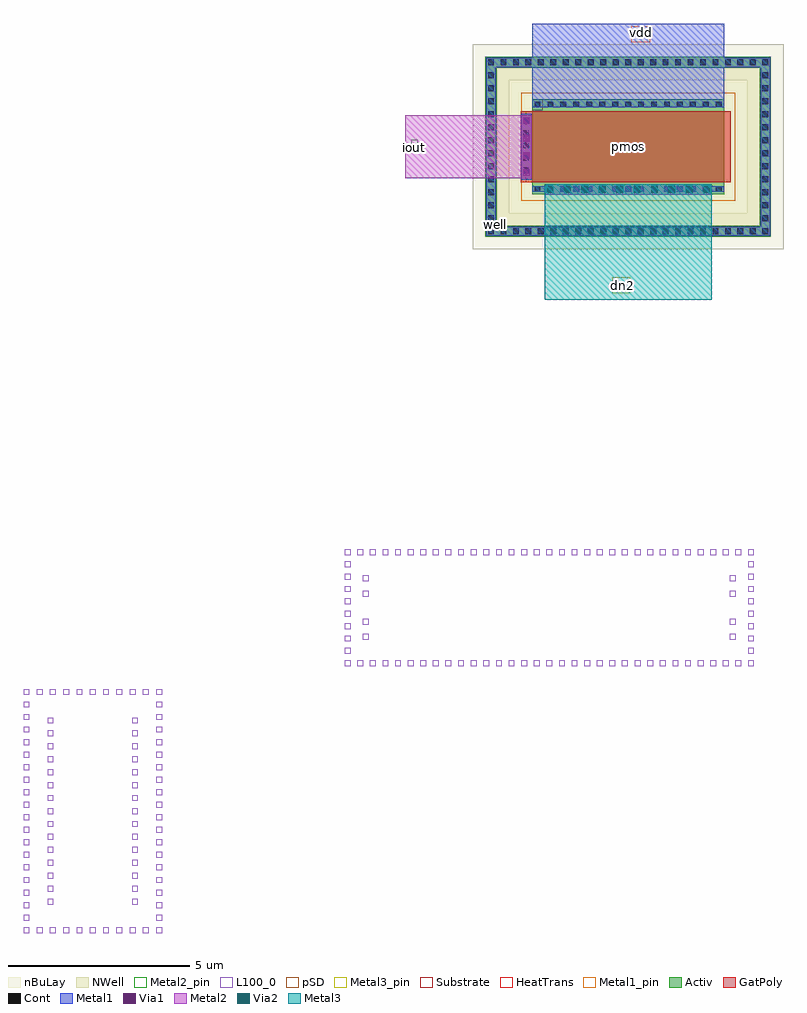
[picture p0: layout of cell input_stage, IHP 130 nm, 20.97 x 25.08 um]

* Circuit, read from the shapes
.subckt input_stage dn2 iout vdd
XM1 vdd iout dn2 vdd sg13_lv_pmos w=5.3u l=1.95u
.ends

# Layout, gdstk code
import gdstk
lib = gdstk.Library(unit=1e-6, precision=1e-09)
def R(c, l, rs):  # rectangles x0, y0, x1, y1
    for r in rs: c.add(gdstk.rectangle(r[:2], r[2:], *l))
def A(c, l, x, y, w, h, nx, ny, dx, dy):  # array of equal rectangles
    R(c, l, [(x+i*dx, y+j*dy, x+i*dx+w, y+j*dy+h) for i in range(nx) for j in range(ny)])
def P(c, l, *ps):  # polygons
    for p in ps: c.add(gdstk.Polygon(p, *l))
Activ = (1, 0)
GatPoly = (5, 0)
Cont = (6, 0)
Metal1 = (8, 0)
Metal1_pin = (8, 2)
Metal2 = (10, 0)
Metal2_pin = (10, 2)
pSD = (14, 0)
Via1 = (19, 0)
Via2 = (29, 0)
Metal3 = (30, 0)
Metal3_pin = (30, 2)
NWell = (31, 0)
nBuLay = (32, 0)
Substrate = (40, 0)
HeatTrans = (51, 0)
L100_0 = (100, 0)

input_stage = lib.new_cell('input_stage')
R(input_stage, Activ, [(-39.23,-6.41,-38.93,-6.11), (-39.23,-6.41,-33.93,-3.78), (-39.23,-4.08,-38.93,-3.78)])
P(input_stage, Activ, [(-40.52,-7.58),(-40.52,-2.61),(-32.64,-2.61),(-32.64,-7.58),(-32.95,-7.58),(-32.95,-2.92),(-40.21,-2.92),(-40.21,-7.27),(-32.95,-7.27),(-32.95,-7.58)])
R(input_stage, GatPoly, [(-39.54,-6.07,-39.41,-4.12), (-39.41,-6.07,-33.75,-4.12), (-39.41,-6.07,-33.75,-4.12)])
A(input_stage, Cont, -40.445, -7.505, 0.16, 0.16, 3, 2, 0.345, 4.66)
A(input_stage, Cont, -39.415, -7.505, 0.16, 0.16, 6, 2, 0.345, 4.66)
A(input_stage, Cont, -37.35, -7.505, 0.16, 0.16, 5, 2, 0.345, 4.66)
A(input_stage, Cont, -35.63, -7.505, 0.16, 0.16, 6, 2, 0.345, 4.66)
A(input_stage, Cont, -33.565, -7.505, 0.16, 0.16, 3, 2, 0.345, 4.66)
A(input_stage, Cont, -40.445, -6.79, 0.16, 0.16, 1, 3, 0, 0.36)
A(input_stage, Cont, -32.875, -6.79, 0.16, 0.16, 1, 3, 0, 0.36)
A(input_stage, Cont, -39.16, -6.34, 0.16, 0.16, 3, 2, 0.355, 2.33)
A(input_stage, Cont, -36.66, -6.34, 0.16, 0.16, 3, 2, 0.355, 2.33)
A(input_stage, Cont, -39.47, -5.82, 0.16, 0.16, 1, 5, 0, 0.34)
A(input_stage, Cont, -40.445, -5.715, 0.16, 0.16, 1, 4, 0, 0.36)
A(input_stage, Cont, -32.875, -5.715, 0.16, 0.16, 1, 4, 0, 0.36)
A(input_stage, Cont, -40.445, -4.28, 0.16, 0.16, 1, 3, 0, 0.36)
A(input_stage, Cont, -32.875, -4.28, 0.16, 0.16, 1, 3, 0, 0.36)
R(input_stage, Cont, [(-40.445,-7.505,-40.285,-7.345), (-32.875,-7.505,-32.715,-7.345), (-40.445,-7.145,-40.285,-6.985), (-32.875,-7.145,-32.715,-6.985), (-38.09,-6.34,-37.93,-6.18), (-37.735,-6.34,-37.575,-6.18), (-37.375,-6.34,-37.215,-6.18), (-37.02,-6.34,-36.86,-6.18), (-35.59,-6.34,-35.43,-6.18), (-35.235,-6.34,-35.075,-6.18), (-34.875,-6.34,-34.715,-6.18), (-34.52,-6.34,-34.36,-6.18), (-34.16,-6.34,-34,-6.18), (-38.09,-4.01,-37.93,-3.85), (-37.735,-4.01,-37.575,-3.85), (-37.375,-4.01,-37.215,-3.85), (-37.02,-4.01,-36.86,-3.85), (-35.59,-4.01,-35.43,-3.85), (-35.235,-4.01,-35.075,-3.85), (-34.875,-4.01,-34.715,-3.85), (-34.52,-4.01,-34.36,-3.85), (-34.16,-4.01,-34,-3.85), (-40.445,-3.205,-40.285,-3.045), (-32.875,-3.205,-32.715,-3.045), (-40.445,-2.845,-40.285,-2.685), (-32.875,-2.845,-32.715,-2.685)])
R(input_stage, Metal1, [(-38.88,-6.415,-34.27,-6.125), (-39.23,-6.34,-33.93,-6.18), (-39.23,-6.34,-33.93,-6.18), (-39.525,-6,-39.235,-4.19), (-39.53,-5.96,-39.24,-4.23), (-39.23,-4.01,-33.93,-3.85), (-39.23,-4.01,-33.93,-3.85), (-39.23,-3.85,-33.93,-2.895), (-39.23,-2.635,-33.93,-1.705)])
P(input_stage, Metal1, [(-40.495,-7.555),(-40.495,-2.635),(-32.665,-2.635),(-32.665,-7.555),(-32.925,-7.555),(-32.925,-2.895),(-40.235,-2.895),(-40.235,-7.295),(-32.925,-7.295),(-32.925,-7.555)])
R(input_stage, Metal1_pin, [(-36.49,-2.21,-35.975,-1.765)])
R(input_stage, Metal2, [(-38.88,-6.415,-34.27,-6.125), (-42.73,-5.96,-39.53,-4.23), (-39.53,-5.96,-39.24,-4.23)])
R(input_stage, Metal2_pin, [(-42.57,-5.235,-42.38,-4.905)])
R(input_stage, pSD, [(-39.53,-6.59,-33.63,-3.6)])
A(input_stage, Via1, -38.83, -6.365, 0.19, 0.19, 10, 1, 0.48, 0)
A(input_stage, Via1, -39.48, -5.91, 0.19, 0.19, 1, 4, 0, 0.48)
A(input_stage, Via2, -38.83, -6.365, 0.19, 0.19, 10, 1, 0.48, 0)
R(input_stage, Metal3, [(-38.88,-9.31,-34.27,-6.415), (-38.88,-6.415,-34.27,-6.125)])
R(input_stage, Metal3_pin, [(-37.025,-9.135,-36.525,-8.69)])
R(input_stage, NWell, [(-40.52,-7.58,-32.64,-2.61), (-39.54,-6.72,-33.62,-3.47)])
R(input_stage, nBuLay, [(-40.865,-7.925,-39.865,-2.265), (-39.865,-7.925,-32.295,-6.925), (-33.295,-6.925,-32.295,-2.265), (-40.865,-3.265,-33.295,-2.265)])
R(input_stage, Substrate, [(-39.23,-4.08,-38.93,-3.78)])
R(input_stage, HeatTrans, [(-39.41,-6.07,-33.75,-4.12)])
R(input_stage, L100_0, [(-53.261,-26.786,-53.099,-26.624), (-53.261,-26.786,-53.099,-26.624), (-52.896,-26.786,-52.734,-26.624), (-52.896,-26.786,-52.734,-26.624), (-52.531,-26.786,-52.369,-26.624), (-52.531,-26.786,-52.369,-26.624), (-52.161,-26.786,-51.999,-26.624), (-52.161,-26.786,-51.999,-26.624), (-51.796,-26.786,-51.634,-26.624), (-51.796,-26.786,-51.634,-26.624), (-51.431,-26.786,-51.269,-26.624), (-51.431,-26.786,-51.269,-26.624), (-51.066,-26.786,-50.904,-26.624), (-51.066,-26.786,-50.904,-26.624), (-50.701,-26.786,-50.539,-26.624), (-50.701,-26.786,-50.539,-26.624), (-50.331,-26.786,-50.169,-26.624), (-50.331,-26.786,-50.169,-26.624), (-49.966,-26.786,-49.804,-26.624), (-49.966,-26.786,-49.804,-26.624), (-49.601,-26.786,-49.439,-26.624), (-49.601,-26.786,-49.439,-26.624), (-53.261,-26.441,-53.099,-26.279), (-53.261,-26.441,-53.099,-26.279), (-49.601,-26.441,-49.439,-26.279), (-49.601,-26.441,-49.439,-26.279), (-53.261,-26.096,-53.099,-25.934), (-53.261,-26.096,-53.099,-25.934), (-49.601,-26.096,-49.439,-25.934), (-49.601,-26.096,-49.439,-25.934), (-52.596,-26.001,-52.434,-25.839), (-52.596,-26.001,-52.434,-25.839), (-50.266,-26.001,-50.104,-25.839), (-50.266,-26.001,-50.104,-25.839), (-53.261,-25.751,-53.099,-25.589), (-53.261,-25.751,-53.099,-25.589), (-49.601,-25.751,-49.439,-25.589), (-49.601,-25.751,-49.439,-25.589), (-52.596,-25.641,-52.434,-25.479), (-52.596,-25.641,-52.434,-25.479), (-50.266,-25.641,-50.104,-25.479), (-50.266,-25.641,-50.104,-25.479), (-53.261,-25.401,-53.099,-25.239), (-53.261,-25.401,-53.099,-25.239), (-49.601,-25.401,-49.439,-25.239), (-49.601,-25.401,-49.439,-25.239), (-52.596,-25.286,-52.434,-25.124), (-52.596,-25.286,-52.434,-25.124), (-50.266,-25.286,-50.104,-25.124), (-50.266,-25.286,-50.104,-25.124), (-53.261,-25.056,-53.099,-24.894), (-53.261,-25.056,-53.099,-24.894), (-49.601,-25.056,-49.439,-24.894), (-49.601,-25.056,-49.439,-24.894), (-52.596,-24.926,-52.434,-24.764), (-52.596,-24.926,-52.434,-24.764), (-50.266,-24.926,-50.104,-24.764), (-50.266,-24.926,-50.104,-24.764), (-53.261,-24.711,-53.099,-24.549), (-53.261,-24.711,-53.099,-24.549), (-49.601,-24.711,-49.439,-24.549), (-49.601,-24.711,-49.439,-24.549), (-52.596,-24.571,-52.434,-24.409), (-52.596,-24.571,-52.434,-24.409), (-50.266,-24.571,-50.104,-24.409), (-50.266,-24.571,-50.104,-24.409), (-53.261,-24.366,-53.099,-24.204), (-53.261,-24.366,-53.099,-24.204), (-49.601,-24.366,-49.439,-24.204), (-49.601,-24.366,-49.439,-24.204), (-52.596,-24.211,-52.434,-24.049), (-52.596,-24.211,-52.434,-24.049), (-50.266,-24.211,-50.104,-24.049), (-50.266,-24.211,-50.104,-24.049), (-53.261,-24.021,-53.099,-23.859), (-53.261,-24.021,-53.099,-23.859), (-49.601,-24.021,-49.439,-23.859), (-49.601,-24.021,-49.439,-23.859), (-52.596,-23.856,-52.434,-23.694), (-52.596,-23.856,-52.434,-23.694), (-50.266,-23.856,-50.104,-23.694), (-50.266,-23.856,-50.104,-23.694), (-53.261,-23.676,-53.099,-23.514), (-53.261,-23.676,-53.099,-23.514), (-49.601,-23.676,-49.439,-23.514), (-49.601,-23.676,-49.439,-23.514), (-52.596,-23.501,-52.434,-23.339), (-52.596,-23.501,-52.434,-23.339), (-50.266,-23.501,-50.104,-23.339), (-50.266,-23.501,-50.104,-23.339), (-53.261,-23.326,-53.099,-23.164), (-53.261,-23.326,-53.099,-23.164), (-49.601,-23.326,-49.439,-23.164), (-49.601,-23.326,-49.439,-23.164), (-52.596,-23.141,-52.434,-22.979), (-52.596,-23.141,-52.434,-22.979), (-50.266,-23.141,-50.104,-22.979), (-50.266,-23.141,-50.104,-22.979), (-53.261,-22.981,-53.099,-22.819), (-53.261,-22.981,-53.099,-22.819), (-49.601,-22.981,-49.439,-22.819), (-49.601,-22.981,-49.439,-22.819), (-52.596,-22.786,-52.434,-22.624), (-52.596,-22.786,-52.434,-22.624), (-50.266,-22.786,-50.104,-22.624), (-50.266,-22.786,-50.104,-22.624), (-53.261,-22.636,-53.099,-22.474), (-53.261,-22.636,-53.099,-22.474), (-49.601,-22.636,-49.439,-22.474), (-49.601,-22.636,-49.439,-22.474), (-52.596,-22.426,-52.434,-22.264), (-52.596,-22.426,-52.434,-22.264), (-50.266,-22.426,-50.104,-22.264), (-50.266,-22.426,-50.104,-22.264), (-53.261,-22.291,-53.099,-22.129), (-53.261,-22.291,-53.099,-22.129), (-49.601,-22.291,-49.439,-22.129), (-49.601,-22.291,-49.439,-22.129), (-52.596,-22.071,-52.434,-21.909), (-52.596,-22.071,-52.434,-21.909), (-50.266,-22.071,-50.104,-21.909), (-50.266,-22.071,-50.104,-21.909), (-53.261,-21.946,-53.099,-21.784), (-53.261,-21.946,-53.099,-21.784), (-49.601,-21.946,-49.439,-21.784), (-49.601,-21.946,-49.439,-21.784), (-52.596,-21.711,-52.434,-21.549), (-52.596,-21.711,-52.434,-21.549), (-50.266,-21.711,-50.104,-21.549), (-50.266,-21.711,-50.104,-21.549), (-53.261,-21.601,-53.099,-21.439), (-53.261,-21.601,-53.099,-21.439), (-49.601,-21.601,-49.439,-21.439), (-49.601,-21.601,-49.439,-21.439), (-52.596,-21.356,-52.434,-21.194), (-52.596,-21.356,-52.434,-21.194), (-50.266,-21.356,-50.104,-21.194), (-50.266,-21.356,-50.104,-21.194), (-53.261,-21.251,-53.099,-21.089), (-53.261,-21.251,-53.099,-21.089), (-49.601,-21.251,-49.439,-21.089), (-49.601,-21.251,-49.439,-21.089), (-52.596,-21.001,-52.434,-20.839), (-52.596,-21.001,-52.434,-20.839), (-50.266,-21.001,-50.104,-20.839), (-50.266,-21.001,-50.104,-20.839), (-53.261,-20.906,-53.099,-20.744), (-53.261,-20.906,-53.099,-20.744), (-49.601,-20.906,-49.439,-20.744), (-49.601,-20.906,-49.439,-20.744), (-53.261,-20.561,-53.099,-20.399), (-53.261,-20.561,-53.099,-20.399), (-49.601,-20.561,-49.439,-20.399), (-49.601,-20.561,-49.439,-20.399), (-53.261,-20.216,-53.099,-20.054), (-53.261,-20.216,-53.099,-20.054), (-52.896,-20.216,-52.734,-20.054), (-52.896,-20.216,-52.734,-20.054), (-52.531,-20.216,-52.369,-20.054), (-52.531,-20.216,-52.369,-20.054), (-52.161,-20.216,-51.999,-20.054), (-52.161,-20.216,-51.999,-20.054), (-51.796,-20.216,-51.634,-20.054), (-51.796,-20.216,-51.634,-20.054), (-51.431,-20.216,-51.269,-20.054), (-51.431,-20.216,-51.269,-20.054), (-51.066,-20.216,-50.904,-20.054), (-51.066,-20.216,-50.904,-20.054), (-50.701,-20.216,-50.539,-20.054), (-50.701,-20.216,-50.539,-20.054), (-50.331,-20.216,-50.169,-20.054), (-50.331,-20.216,-50.169,-20.054), (-49.966,-20.216,-49.804,-20.054), (-49.966,-20.216,-49.804,-20.054), (-49.601,-20.216,-49.439,-20.054), (-49.601,-20.216,-49.439,-20.054), (-44.401,-19.421,-44.239,-19.259), (-44.401,-19.421,-44.239,-19.259), (-44.051,-19.421,-43.889,-19.259), (-44.051,-19.421,-43.889,-19.259), (-43.706,-19.421,-43.544,-19.259), (-43.706,-19.421,-43.544,-19.259), (-43.356,-19.421,-43.194,-19.259), (-43.356,-19.421,-43.194,-19.259), (-43.011,-19.421,-42.849,-19.259), (-43.011,-19.421,-42.849,-19.259), (-42.661,-19.421,-42.499,-19.259), (-42.661,-19.421,-42.499,-19.259), (-42.316,-19.421,-42.154,-19.259), (-42.316,-19.421,-42.154,-19.259), (-41.966,-19.421,-41.804,-19.259), (-41.966,-19.421,-41.804,-19.259), (-41.621,-19.421,-41.459,-19.259), (-41.621,-19.421,-41.459,-19.259), (-41.271,-19.421,-41.109,-19.259), (-41.271,-19.421,-41.109,-19.259), (-40.921,-19.421,-40.759,-19.259), (-40.921,-19.421,-40.759,-19.259), (-40.576,-19.421,-40.414,-19.259), (-40.576,-19.421,-40.414,-19.259), (-40.226,-19.421,-40.064,-19.259), (-40.226,-19.421,-40.064,-19.259), (-39.881,-19.421,-39.719,-19.259), (-39.881,-19.421,-39.719,-19.259), (-39.531,-19.421,-39.369,-19.259), (-39.531,-19.421,-39.369,-19.259), (-39.186,-19.421,-39.024,-19.259), (-39.186,-19.421,-39.024,-19.259), (-38.836,-19.421,-38.674,-19.259), (-38.836,-19.421,-38.674,-19.259), (-38.486,-19.421,-38.324,-19.259), (-38.486,-19.421,-38.324,-19.259), (-38.141,-19.421,-37.979,-19.259), (-38.141,-19.421,-37.979,-19.259), (-37.791,-19.421,-37.629,-19.259), (-37.791,-19.421,-37.629,-19.259), (-37.446,-19.421,-37.284,-19.259), (-37.446,-19.421,-37.284,-19.259), (-37.096,-19.421,-36.934,-19.259), (-37.096,-19.421,-36.934,-19.259), (-36.751,-19.421,-36.589,-19.259), (-36.751,-19.421,-36.589,-19.259), (-36.401,-19.421,-36.239,-19.259), (-36.401,-19.421,-36.239,-19.259), (-36.051,-19.421,-35.889,-19.259), (-36.051,-19.421,-35.889,-19.259), (-35.706,-19.421,-35.544,-19.259), (-35.706,-19.421,-35.544,-19.259), (-35.356,-19.421,-35.194,-19.259), (-35.356,-19.421,-35.194,-19.259), (-35.011,-19.421,-34.849,-19.259), (-35.011,-19.421,-34.849,-19.259), (-34.661,-19.421,-34.499,-19.259), (-34.661,-19.421,-34.499,-19.259), (-34.316,-19.421,-34.154,-19.259), (-34.316,-19.421,-34.154,-19.259), (-33.966,-19.421,-33.804,-19.259), (-33.966,-19.421,-33.804,-19.259), (-33.621,-19.421,-33.459,-19.259), (-33.621,-19.421,-33.459,-19.259), (-33.271,-19.421,-33.109,-19.259), (-33.271,-19.421,-33.109,-19.259), (-44.401,-19.081,-44.239,-18.919), (-44.401,-19.081,-44.239,-18.919), (-33.271,-19.081,-33.109,-18.919), (-33.271,-19.081,-33.109,-18.919), (-44.401,-18.741,-44.239,-18.579), (-44.401,-18.741,-44.239,-18.579), (-33.271,-18.741,-33.109,-18.579), (-33.271,-18.741,-33.109,-18.579), (-43.901,-18.696,-43.739,-18.534), (-43.901,-18.696,-43.739,-18.534), (-33.771,-18.696,-33.609,-18.534), (-33.771,-18.696,-33.609,-18.534), (-44.401,-18.401,-44.239,-18.239), (-44.401,-18.401,-44.239,-18.239), (-33.271,-18.401,-33.109,-18.239), (-33.271,-18.401,-33.109,-18.239), (-43.901,-18.276,-43.739,-18.114), (-43.901,-18.276,-43.739,-18.114), (-33.771,-18.276,-33.609,-18.114), (-33.771,-18.276,-33.609,-18.114), (-44.401,-18.061,-44.239,-17.899), (-44.401,-18.061,-44.239,-17.899), (-33.271,-18.061,-33.109,-17.899), (-33.271,-18.061,-33.109,-17.899), (-44.401,-17.716,-44.239,-17.554), (-44.401,-17.716,-44.239,-17.554), (-33.271,-17.716,-33.109,-17.554), (-33.271,-17.716,-33.109,-17.554), (-43.901,-17.501,-43.739,-17.339), (-43.901,-17.501,-43.739,-17.339), (-33.771,-17.501,-33.609,-17.339), (-33.771,-17.501,-33.609,-17.339), (-44.401,-17.376,-44.239,-17.214), (-44.401,-17.376,-44.239,-17.214), (-33.271,-17.376,-33.109,-17.214), (-33.271,-17.376,-33.109,-17.214), (-43.901,-17.081,-43.739,-16.919), (-43.901,-17.081,-43.739,-16.919), (-33.771,-17.081,-33.609,-16.919), (-33.771,-17.081,-33.609,-16.919), (-44.401,-17.036,-44.239,-16.874), (-44.401,-17.036,-44.239,-16.874), (-33.271,-17.036,-33.109,-16.874), (-33.271,-17.036,-33.109,-16.874), (-44.401,-16.696,-44.239,-16.534), (-44.401,-16.696,-44.239,-16.534), (-33.271,-16.696,-33.109,-16.534), (-33.271,-16.696,-33.109,-16.534), (-44.401,-16.356,-44.239,-16.194), (-44.401,-16.356,-44.239,-16.194), (-44.051,-16.356,-43.889,-16.194), (-44.051,-16.356,-43.889,-16.194), (-43.706,-16.356,-43.544,-16.194), (-43.706,-16.356,-43.544,-16.194), (-43.356,-16.356,-43.194,-16.194), (-43.356,-16.356,-43.194,-16.194), (-43.011,-16.356,-42.849,-16.194), (-43.011,-16.356,-42.849,-16.194), (-42.661,-16.356,-42.499,-16.194), (-42.661,-16.356,-42.499,-16.194), (-42.316,-16.356,-42.154,-16.194), (-42.316,-16.356,-42.154,-16.194), (-41.966,-16.356,-41.804,-16.194), (-41.966,-16.356,-41.804,-16.194), (-41.621,-16.356,-41.459,-16.194), (-41.621,-16.356,-41.459,-16.194), (-41.271,-16.356,-41.109,-16.194), (-41.271,-16.356,-41.109,-16.194), (-40.921,-16.356,-40.759,-16.194), (-40.921,-16.356,-40.759,-16.194), (-40.576,-16.356,-40.414,-16.194), (-40.576,-16.356,-40.414,-16.194), (-40.226,-16.356,-40.064,-16.194), (-40.226,-16.356,-40.064,-16.194), (-39.881,-16.356,-39.719,-16.194), (-39.881,-16.356,-39.719,-16.194), (-39.531,-16.356,-39.369,-16.194), (-39.531,-16.356,-39.369,-16.194), (-39.186,-16.356,-39.024,-16.194), (-39.186,-16.356,-39.024,-16.194), (-38.836,-16.356,-38.674,-16.194), (-38.836,-16.356,-38.674,-16.194), (-38.486,-16.356,-38.324,-16.194), (-38.486,-16.356,-38.324,-16.194), (-38.141,-16.356,-37.979,-16.194), (-38.141,-16.356,-37.979,-16.194), (-37.791,-16.356,-37.629,-16.194), (-37.791,-16.356,-37.629,-16.194), (-37.446,-16.356,-37.284,-16.194), (-37.446,-16.356,-37.284,-16.194), (-37.096,-16.356,-36.934,-16.194), (-37.096,-16.356,-36.934,-16.194), (-36.751,-16.356,-36.589,-16.194), (-36.751,-16.356,-36.589,-16.194), (-36.401,-16.356,-36.239,-16.194), (-36.401,-16.356,-36.239,-16.194), (-36.051,-16.356,-35.889,-16.194), (-36.051,-16.356,-35.889,-16.194), (-35.706,-16.356,-35.544,-16.194), (-35.706,-16.356,-35.544,-16.194), (-35.356,-16.356,-35.194,-16.194), (-35.356,-16.356,-35.194,-16.194), (-35.011,-16.356,-34.849,-16.194), (-35.011,-16.356,-34.849,-16.194), (-34.661,-16.356,-34.499,-16.194), (-34.661,-16.356,-34.499,-16.194), (-34.316,-16.356,-34.154,-16.194), (-34.316,-16.356,-34.154,-16.194), (-33.966,-16.356,-33.804,-16.194), (-33.966,-16.356,-33.804,-16.194), (-33.621,-16.356,-33.459,-16.194), (-33.621,-16.356,-33.459,-16.194), (-33.271,-16.356,-33.109,-16.194), (-33.271,-16.356,-33.109,-16.194)])
input_stage.add(gdstk.Label('pmos', (-36.58,-5.095), layer=63, texttype=0))
input_stage.add(gdstk.Label('well', (-40.235,-7.225), layer=63, texttype=0))
input_stage.add(gdstk.Label('pmos', (-36.58,-5.095), layer=51, texttype=0))
input_stage.add(gdstk.Label('vdd', (-36.22,-1.955), layer=8, texttype=25))
input_stage.add(gdstk.Label('dn2', (-36.75,-8.93), layer=30, texttype=25))
input_stage.add(gdstk.Label('iout', (-42.485,-5.125), layer=10, texttype=25))

lib.write_gds('input_stage.gds')
